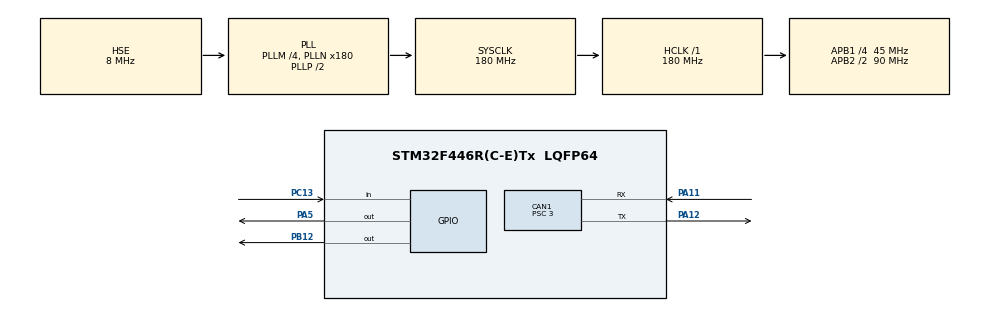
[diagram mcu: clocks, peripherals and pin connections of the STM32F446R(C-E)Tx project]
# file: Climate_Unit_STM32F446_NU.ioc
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CAN1.BS1=CAN_BS1_12TQ
CAN1.BS2=CAN_BS2_2TQ
CAN1.CalculateBaudRate=1000000
CAN1.CalculateTimeBit=1000
CAN1.CalculateTimeQuantum=66.66666666666666
CAN1.NART=ENABLE
CAN1.Prescaler=3
Mcu.Family=STM32F4
Mcu.Name=STM32F446R(C-E)Tx
Mcu.Package=LQFP64
NVIC.CAN1_RX0_IRQn=true\:0\:0\:false\:false\:true\:true\:true\:true
NVIC.CAN1_SCE_IRQn=true\:0\:0\:false\:false\:true\:true\:true\:true
NVIC.PriorityGroup=NVIC_PRIORITYGROUP_4
PA11.Mode=CAN_Activate
PA11.Signal=CAN1_RX
PA12.Mode=CAN_Activate
PA12.Signal=CAN1_TX
PA13.Mode=Serial_Wire
PA13.Signal=SYS_JTMS-SWDIO
PA14.Mode=Serial_Wire
PA14.Signal=SYS_JTCK-SWCLK
PA5.Signal=GPIO_Output
PB12.Signal=GPIO_Output
PC13.Signal=GPIO_Input
PH0-OSC_IN.Mode=HSE-External-Clock-Source
PH0-OSC_IN.Signal=RCC_OSC_IN
PH1-OSC_OUT.Mode=HSE-External-Clock-Source
PH1-OSC_OUT.Signal=RCC_OSC_OUT
ProjectManager.HeapSize=0x200
ProjectManager.StackSize=0x400
ProjectManager.TargetToolchain=STM32CubeIDE
RCC.AHBFreq_Value=180000000
RCC.APB1CLKDivider=RCC_HCLK_DIV4
RCC.APB1Freq_Value=45000000
RCC.APB1TimFreq_Value=90000000
RCC.APB2CLKDivider=RCC_HCLK_DIV2
RCC.APB2Freq_Value=90000000
RCC.APB2TimFreq_Value=180000000
RCC.CortexFreq_Value=180000000
RCC.HCLKFreq_Value=180000000
RCC.HSE_VALUE=8000000
RCC.PLLM=4
RCC.PLLN=180
RCC.PLLSourceVirtual=RCC_PLLSOURCE_HSE
RCC.SYSCLKFreq_VALUE=180000000
RCC.SYSCLKSource=RCC_SYSCLKSOURCE_PLLCLK
RCC.USBFreq_Value=180000000
RCC.VCOOutputFreq_Value=360000000
board=custom

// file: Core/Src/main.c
/* USER CODE BEGIN Header */
/**
  ******************************************************************************
  * @file           : main.c
  * @brief          : Main program body
  ******************************************************************************
  * @attention
  *
  * Copyright (c) 2025 STMicroelectronics.
  * All rights reserved.
  *
  * This software is licensed under terms that can be found in the LICENSE file
  * in the root directory of this software component.
  * If no LICENSE file comes with this software, it is provided AS-IS.
  *
  ******************************************************************************
  */
/* USER CODE END Header */
#include "main.h"
#include "CAN_protocol.h"

CAN_HandleTypeDef hcan1;

/* USER CODE BEGIN PV */
uint8_t array[50];
uint8_t TxData[8] = {0x01, 0x02, 0x03, 0x00, 0x05, 0x06, 0x07, 0x08};

/* USER CODE END PV */

void SystemClock_Config(void);
static void MX_GPIO_Init(void);
static void MX_CAN1_Init(void);

int main(void)
{

  /* MCU Configuration--------------------------------------------------------*/

  /* Reset of all peripherals, Initializes the Flash interface and the Systick. */
  HAL_Init();

  /* Configure the system clock */
  SystemClock_Config();

  /* Initialize all configured peripherals */
  MX_GPIO_Init();
  MX_CAN1_Init();
  /* USER CODE BEGIN 2 */

  CAN_Driver_AddFilterList(&hcan1, 0x102, 1);
  CAN_Protocol_Init(&hcan1);

  HAL_Delay(500);

  /* USER CODE END 2 */

  /* Infinite loop */
  /* USER CODE BEGIN WHILE */
  while (1)
  {
	  CAN_Protocol_ProcessQueue();
	  HAL_Delay(10);
	  uint16_t cnt = 0x101;
	  while(cnt < 0x106)
	  {
		  while(! HAL_CAN_GetTxMailboxesFreeLevel(&hcan1));
		  CAN_Driver_Transmit(cnt, TxData, 8, CAN_RTR_DATA);
		  cnt++;
	  }

	  if(HAL_GPIO_ReadPin(GPIOC, GPIO_PIN_13) == GPIO_PIN_RESET)
	  {
		  TxData[3] = 0xFF;
	  }else{
		  TxData[3] = 0x00;
	  }

    /* USER CODE END WHILE */

  }
}

void SystemClock_Config(void)
{
  RCC_OscInitTypeDef RCC_OscInitStruct = {0};
  RCC_ClkInitTypeDef RCC_ClkInitStruct = {0};

  /** Configure the main internal regulator output voltage
  */
  __HAL_RCC_PWR_CLK_ENABLE();
  __HAL_PWR_VOLTAGESCALING_CONFIG(PWR_REGULATOR_VOLTAGE_SCALE1);

  /** Initializes the RCC Oscillators according to the specified parameters
  * in the RCC_OscInitTypeDef structure.
  */
  RCC_OscInitStruct.OscillatorType = RCC_OSCILLATORTYPE_HSE;
  RCC_OscInitStruct.HSEState = RCC_HSE_BYPASS;
  RCC_OscInitStruct.PLL.PLLState = RCC_PLL_ON;
  RCC_OscInitStruct.PLL.PLLSource = RCC_PLLSOURCE_HSE;
  RCC_OscInitStruct.PLL.PLLM = 4;
  RCC_OscInitStruct.PLL.PLLN = 180;
  RCC_OscInitStruct.PLL.PLLP = RCC_PLLP_DIV2;
  RCC_OscInitStruct.PLL.PLLQ = 2;
  RCC_OscInitStruct.PLL.PLLR = 2;
  if (HAL_RCC_OscConfig(&RCC_OscInitStruct) != HAL_OK)
  {
    Error_Handler();
  }

  /** Activate the Over-Drive mode
  */
  if (HAL_PWREx_EnableOverDrive() != HAL_OK)
  {
    Error_Handler();
  }

  /** Initializes the CPU, AHB and APB buses clocks
  */
  RCC_ClkInitStruct.ClockType = RCC_CLOCKTYPE_HCLK|RCC_CLOCKTYPE_SYSCLK
                              |RCC_CLOCKTYPE_PCLK1|RCC_CLOCKTYPE_PCLK2;
  RCC_ClkInitStruct.SYSCLKSource = RCC_SYSCLKSOURCE_PLLCLK;
  RCC_ClkInitStruct.AHBCLKDivider = RCC_SYSCLK_DIV1;
  RCC_ClkInitStruct.APB1CLKDivider = RCC_HCLK_DIV4;
  RCC_ClkInitStruct.APB2CLKDivider = RCC_HCLK_DIV2;

  if (HAL_RCC_ClockConfig(&RCC_ClkInitStruct, FLASH_LATENCY_5) != HAL_OK)
  {
    Error_Handler();
  }
}

static void MX_CAN1_Init(void)
{

  hcan1.Instance = CAN1;
  hcan1.Init.Prescaler = 3;
  hcan1.Init.Mode = CAN_MODE_NORMAL;
  hcan1.Init.SyncJumpWidth = CAN_SJW_1TQ;
  hcan1.Init.TimeSeg1 = CAN_BS1_12TQ;
  hcan1.Init.TimeSeg2 = CAN_BS2_2TQ;
  hcan1.Init.TimeTriggeredMode = DISABLE;
  hcan1.Init.AutoBusOff = DISABLE;
  hcan1.Init.AutoWakeUp = DISABLE;
  hcan1.Init.AutoRetransmission = ENABLE;
  hcan1.Init.ReceiveFifoLocked = DISABLE;
  hcan1.Init.TransmitFifoPriority = DISABLE;
  if (HAL_CAN_Init(&hcan1) != HAL_OK)
  {
    Error_Handler();
  }

}

static void MX_GPIO_Init(void)
{
  GPIO_InitTypeDef GPIO_InitStruct = {0};

  /* GPIO Ports Clock Enable */
  __HAL_RCC_GPIOC_CLK_ENABLE();
  __HAL_RCC_GPIOH_CLK_ENABLE();
  __HAL_RCC_GPIOA_CLK_ENABLE();
  __HAL_RCC_GPIOB_CLK_ENABLE();

  /*Configure GPIO pin Output Level */
  HAL_GPIO_WritePin(GPIOA, GPIO_PIN_5, GPIO_PIN_RESET);

  /*Configure GPIO pin Output Level */
  HAL_GPIO_WritePin(GPIOB, GPIO_PIN_12, GPIO_PIN_RESET);

  /*Configure GPIO pin : PC13 */
  GPIO_InitStruct.Pin = GPIO_PIN_13;
  GPIO_InitStruct.Mode = GPIO_MODE_INPUT;
  GPIO_InitStruct.Pull = GPIO_NOPULL;
  HAL_GPIO_Init(GPIOC, &GPIO_InitStruct);

  /*Configure GPIO pin : PA5 */
  GPIO_InitStruct.Pin = GPIO_PIN_5;
  GPIO_InitStruct.Mode = GPIO_MODE_OUTPUT_PP;
  GPIO_InitStruct.Pull = GPIO_NOPULL;
  GPIO_InitStruct.Speed = GPIO_SPEED_FREQ_LOW;
  HAL_GPIO_Init(GPIOA, &GPIO_InitStruct);

  /*Configure GPIO pin : PB12 */
  GPIO_InitStruct.Pin = GPIO_PIN_12;
  GPIO_InitStruct.Mode = GPIO_MODE_OUTPUT_PP;
  GPIO_InitStruct.Pull = GPIO_NOPULL;
  GPIO_InitStruct.Speed = GPIO_SPEED_FREQ_LOW;
  HAL_GPIO_Init(GPIOB, &GPIO_InitStruct);

}

void Error_Handler(void)
{
  __disable_irq();
  while (1)
  {
  }
}
